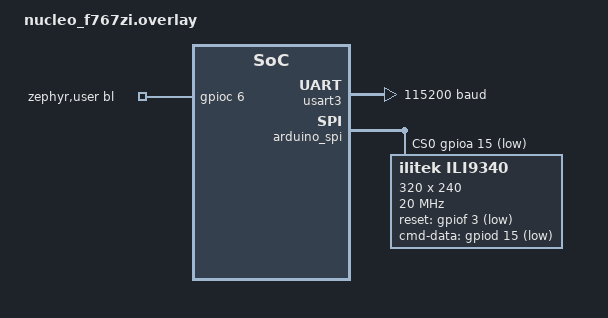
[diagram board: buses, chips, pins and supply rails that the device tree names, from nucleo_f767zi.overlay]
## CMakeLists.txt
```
cmake_minimum_required(VERSION 3.20.0)
find_package(Zephyr REQUIRED HINTS $ENV{ZEPHYR_BASE})
project(zephyr_mon)
target_sources(app PRIVATE src/main.cpp src/ui.cpp)
```

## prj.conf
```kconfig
CONFIG_HEAP_MEM_POOL_SIZE=16384
CONFIG_MAIN_STACK_SIZE=8192
CONFIG_GPIO=y
CONFIG_SPI=y
CONFIG_SERIAL=y
CONFIG_UART_LINE_CTRL=y
CONFIG_SERIAL=y
CONFIG_DISPLAY=y
CONFIG_LOG=y
CONFIG_HTCW_BITS=y
CONFIG_HTCW_IO=y
CONFIG_HTCW_ML=y
CONFIG_HTCW_DATA=y
CONFIG_HTCW_GFX=y
CONFIG_HTCW_UIX=y
CONFIG_CPP=y
CONFIG_STD_CPP17=y
CONFIG_PICOLIBC=y
CONFIG_NATIVE_UART_0_ON_STDINOUT=y
```

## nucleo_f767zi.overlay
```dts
#include <zephyr/dt-bindings/display/ili9xxx.h>
/ {
	aliases {
		command-serial = &usart3;
	};
	chosen {
		zephyr,display = &ili9340;
	};
	zephyr,user {
		// backlight
		bl_gpios = <&gpioc 6 0>;
	};	
};
&usart3 {
	compatible = "st,stm32-usart", "st,stm32-uart";
	status = "okay";
	current-speed = <115200>;
};
&arduino_spi {
	status = "okay";
	cs-gpios = <&gpioa 15 (GPIO_ACTIVE_LOW | GPIO_PULL_UP)>;
	ili9340: ili9340@0 {
		compatible = "ilitek,ili9340";
		spi-max-frequency = <20000000>;
		reg = <0>;
		reset-gpios = <&gpiof 3 (GPIO_ACTIVE_LOW | GPIO_PULL_UP)>;
        cmd-data-gpios = <&gpiod 15 (GPIO_ACTIVE_LOW | GPIO_PULL_UP)>;
		width = <320>;
		height = <240>;
		pixel-format = <ILI9XXX_PIXEL_FORMAT_RGB565>;
		rotation = <90>;
		frmctr1 = [00 18];
		pwctrl1 = [23 00];
		vmctrl1 = [3e 28];
		vmctrl2 = [86];
		pgamctrl = [0f 31 2b 0c 0e 08 4e f1 37 07 10 03 0e 09 00];
		ngamctrl = [00 0e 14 03 11 07 31 c1 48 08 0f 0c 31 36 0f];
	};
};
```

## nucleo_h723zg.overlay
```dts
#include <zephyr/dt-bindings/display/ili9xxx.h>
/ {
	aliases {
		command-serial = &usart3;
	};
	chosen {
		zephyr,display = &ili9340;
	};
	zephyr,user {
		// backlight
		bl_gpios = <&gpioc 6 GPIO_ACTIVE_HIGH>;
	};	
};
&usart3 {
	compatible = "st,stm32-usart", "st,stm32-uart";
	status = "okay";
	current-speed = <115200>;
};
&arduino_spi {
	status = "okay";
	cs-gpios = <&gpioa 15 (GPIO_ACTIVE_LOW | GPIO_PULL_UP)>;
	ili9340: ili9340@0 {
		compatible = "ilitek,ili9340";
		spi-max-frequency = <20000000>;
		reg = <0>;
		reset-gpios = <&gpiof 3 (GPIO_ACTIVE_LOW | GPIO_PULL_UP)>;
        cmd-data-gpios = <&gpiod 15 (GPIO_ACTIVE_LOW | GPIO_PULL_UP)>;
		width = <320>;
		height = <240>;
		pixel-format = <ILI9XXX_PIXEL_FORMAT_RGB565>;
		rotation = <90>;
		frmctr1 = [00 18];
		pwctrl1 = [23 00];
		vmctrl1 = [3e 28];
		vmctrl2 = [86];
		pgamctrl = [0f 31 2b 0c 0e 08 4e f1 37 07 10 03 0e 09 00];
		ngamctrl = [00 0e 14 03 11 07 31 c1 48 08 0f 0c 31 36 0f];
	};
};
```

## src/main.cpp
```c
#include <zephyr/kernel.h>
#include <zephyr/device.h>
#include <zephyr/drivers/gpio.h>
#include <zephyr/drivers/i2c.h>
#include <zephyr/drivers/uart.h>
#include <zephyr/drivers/display.h>
#include <string.h>
#include <stdio.h>
#include <gfx.hpp>
#include <uix.hpp>
#include "interface.hpp"
#include "ui.hpp"
extern "C" int main(void);

#define ZEPHYR_USER_NODE DT_PATH(zephyr_user)

using namespace gfx;
using namespace uix;

static const struct gpio_dt_spec lcd_bl = GPIO_DT_SPEC_GET(ZEPHYR_USER_NODE, bl_gpios);
static const struct device *uart_dev = DEVICE_DT_GET(DT_ALIAS(command_serial));

static uint32_t get_ms()
{
	return k_uptime_get();
}
// can't easily be sure if this works but maybe?
static int serial_getch()
{
	unsigned char ch;
	if (-1 == uart_poll_in(uart_dev, &ch)) {
		return -1;
	}
	return ch;
}

// returns garbage
static size_t serial_read_bytes(uint8_t *buf, size_t len)
{
	size_t result = 0;
	while (len) {
		int i = serial_getch();
		if (-1 != i) {
			*buf++ = (uint8_t)i;
			--len;
			++result;
		}
	}
	return result;
}

static bool serial_read_status(read_status_t *out_status)
{
	if (4 > serial_read_bytes((uint8_t *)out_status, sizeof(read_status_t))) {
		return false;
	}
	return true;
}

int main(void)
{
	printf("booted\n");
	static uint32_t timeout_ts = 0;
	bool connected = false;
	int old_cpu_temp = -1;
	int old_gpu_temp = 0;
	char cpu_sz[16];
	char gpu_sz[16];
	main_screen_init();
	disconnected_screen_init();
	int ret;
	if (!device_is_ready(uart_dev)) {
		printf("Could not get UART. Aborting\n");
		return -1;
	}
	if (!gpio_is_ready_dt(&lcd_bl)) {
		printf("Could not get backlight GPIO. Aborting\n");
		return -1;
	}
	ret = gpio_pin_configure_dt(&lcd_bl, GPIO_OUTPUT_ACTIVE);
	if (ret < 0) {
		return -1;
	}
	gpio_pin_set_dt(&lcd_bl, 1);

	if (display_dev == NULL) {
		printf("Device not found.  Aborting.\n");
		return -1;
	}
	display_blanking_off(display_dev);

	while (1) {
		// timeout for disconnection detection (1 second)
		if (timeout_ts != 0 && get_ms() > timeout_ts + 1000) {
			timeout_ts = 0;
			active_screen = &disconnected_screen;
			active_screen->invalidate();
			connected = false;
		}

		// listen for incoming serial
		bool done = false;
		while (!done) {
			int i = serial_getch();
			uint8_t tmp;
			if (i > -1) { // if data received...
				// reset the disconnect timeout
				timeout_ts = get_ms();
				if (!connected) {
					active_screen = &main_screen;
					active_screen->invalidate();
					connected = true;
				}
				switch (i) {
				case read_status_t::command: {
					read_status_t data;
					if (serial_read_status(&data)) {
						// update the CPU graph buffer (usage)
						if (cpu_buffers[0].full()) {
							cpu_buffers[0].get(&tmp);
						}
						cpu_buffers[0].put((data.cpu_usage / 100.0f) * 255);
						// update the bar and label values (usage)
						cpu_values[0] = data.cpu_usage / 100.0f;
						// update the CPU graph buffer (temperature)
						if (cpu_buffers[1].full()) {
							cpu_buffers[1].get(&tmp);
						}
						cpu_buffers[1].put(
							(data.cpu_temp / (float)data.cpu_temp_max) *
							255);
						if (data.cpu_temp > cpu_max_temp) {
							cpu_max_temp = data.cpu_temp;
						}
						// update the bar and label values (temperature)
						cpu_values[1] =
							data.cpu_temp / (float)data.cpu_temp_max;
						// force a redraw of the CPU bar and graph
						cpu_graph.invalidate();
						cpu_bar.invalidate();
						// update CPU the label (temperature)
						if (old_cpu_temp != data.cpu_temp) {
							old_cpu_temp = data.cpu_temp;
							sprintf(cpu_sz, "%dC", data.cpu_temp);
							cpu_temp_label.text(cpu_sz);
						}
						// update the GPU graph buffer (usage)
						if (gpu_buffers[0].full()) {
							gpu_buffers[0].get(&tmp);
						}
						gpu_buffers[0].put((data.gpu_usage / 100.0f) * 255);
						// update the bar and label values (usage)
						gpu_values[0] = data.gpu_usage / 100.0f;
						// update the GPU graph buffer (temperature)
						if (gpu_buffers[1].full()) {
							gpu_buffers[1].get(&tmp);
						}
						gpu_buffers[1].put(
							(data.gpu_temp / (float)data.gpu_temp_max) *
							255);
						if (data.gpu_temp > gpu_max_temp) {
							gpu_max_temp = data.gpu_temp;
						}
						// update the bar and label values (temperature)
						gpu_values[1] =
							data.gpu_temp / (float)data.gpu_temp_max;
						// force a redraw of the GPU bar and graph
						gpu_graph.invalidate();
						gpu_bar.invalidate();
						// update GPU the label (temperature)
						if (old_gpu_temp != data.gpu_temp) {
							old_gpu_temp = data.gpu_temp;
							sprintf(gpu_sz, "%dC", data.gpu_temp);
							gpu_temp_label.text(gpu_sz);
						}
					} else {
						// eat bad data
						while (-1 != serial_getch())
							;
					}
				} break;
				default:
					// eat unrecognized data
					while (-1 != serial_getch())
						;
					break;
				};
			} else {
				done = true;
			}
		}
		if (active_screen != nullptr) {
			active_screen->update();
		}
		k_yield();
	}

	return 0;
}
```

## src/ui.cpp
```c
#include "ui.hpp"
// required to implort the icon implementation
// must appear only once in the project
#define DISCONNECTED_ICON_IMPLEMENTATION
#include "disconnected_icon.hpp"
// our font for the UI. 
#define OPENSANS_REGULAR_IMPLEMENTATION
#include "OpenSans_Regular.hpp"

// for easier modification
const gfx::open_font& text_font = OpenSans_Regular;

using namespace uix;
using namespace gfx;

const struct device *display_dev = DEVICE_DT_GET(DT_CHOSEN(zephyr_display));
uint8_t lcd_buffer[lcd_buffer_size];
screen_t main_screen(lcd_buffer_size, lcd_buffer);
screen_t disconnected_screen(lcd_buffer_size, lcd_buffer);
screen_t* active_screen = &disconnected_screen;
void uix_flush(const rect16 &bounds, const void *bmp, void *state) {
	if(active_screen==nullptr) { return; }
    uint16_t w = bounds.x2 - bounds.x1 + 1;
	uint16_t h = bounds.y2 - bounds.y1 + 1;
	struct display_buffer_descriptor desc;
	desc.buf_size = screen_t::bitmap_type::sizeof_buffer({w, h});
	desc.width = w;
	desc.pitch = w;
	desc.height = h;
	display_write(display_dev, bounds.x1, bounds.y1, &desc, (void *)bmp);
    active_screen->set_flush_complete();
}

// used for the draw routines
// the state data for the bars
typedef struct bar_info {
    size_t size;
    float* values;
    rgba_pixel<32>* colors;
} bar_info_t;
// the state data for the graphs
typedef struct graph_info {
    size_t size;
    buffer_t* buffers;
    rgba_pixel<32>* colors;
} graph_info_t;

// callback for a canvas control to draw the bars
static void draw_bar(canvas_t::control_surface_type& destination, 
                    const gfx::srect16& clip, 
                    void* state) {
    // reconstitute our state info
    const bar_info_t& inf = *(bar_info_t*)state;
    // get the height of each bar
    int h = destination.dimensions().height / inf.size;
    int y = 0;
    for (size_t i = 0; i < inf.size; ++i) {
        // the current value to graph
        float v = inf.values[i];
        rgba_pixel<32> col = inf.colors[i];
        rgba_pixel<32> bcol = col;
        // if the color is the default (black), then we create a gradient
        // using the HSV color model
        if (col == rgba_pixel<32>()) {
            // two reference points for the ends of the graph
            hsva_pixel<32> px = color<hsva_pixel<32>>::red;
            hsva_pixel<32> px2 = color<hsva_pixel<32>>::green;
            auto h1 = px.channel<channel_name::H>();
            auto h2 = px2.channel<channel_name::H>();
            // adjust so we don't overshoot
            h2 -= 32;
            // the actual range we're drawing
            auto range = abs(h2 - h1) + 1;
            // the width of each gradient segment
            int w = (int)ceilf(destination.dimensions().width / 
                                (float)range) + 1;
            // the step of each segment - default 1
            int s = 1;
            // if the gradient is larger than the control
            if (destination.dimensions().width < range) {
                // change the segment to width 1
                w = 1;
                // and make its step larger
                s = range / (float)destination.dimensions().width;
            }
            int x = 0;
            // c is the current color offset
            // it increases by s (step)
            int c = 0;
            // for each color in the range
            for (auto j = 0; j < range; ++j) {
                // adjust the H value (inverted and offset)
                px.channel<channel_name::H>(range - c - 1 + h1);
                // create the rect for our segment
                rect16 r(x, y, x + w, y + h);
                // if we're drawing the filled part
                // it's fully opaque
                // otherwise it's semi-transparent
                if (x >= (v * destination.dimensions().width)) {
                    px.channel<channel_name::A>(95);
                } else {
                    px.channel<channel_name::A>(255);
                }
                // black out the area underneath so alpha blending
                // works correctly
                draw::filled_rectangle(destination, 
                                    r, 
                                    main_screen.background_color(), 
                                    &clip);
                // draw the segment
                draw::filled_rectangle(destination, 
                                    r, 
                                    px, 
                                    &clip);
                // increment
                x += w;
                c += s;
            }
        } else {
            // draw the solid color bars
            // first draw the background
            bcol.channel<channel_name::A>(95);
            draw::filled_rectangle(destination, 
                                srect16((destination.dimensions().width * v), 
                                        y, 
                                        destination.dimensions().width - 1, 
                                        y + h), 
                                bcol, 
                                &clip);
            // now the filled part
            draw::filled_rectangle(destination, 
                                srect16(0, 
                                        y, 
                                        (destination.dimensions().width * v) - 1, 
                                        y + h),
                                col, 
                                &clip);
        }
        // increment to the next bar
        y += h;
    }
}
static void draw_graph(canvas_t::control_surface_type& destination, 
                    const gfx::srect16& clip, 
                    void* state) {
    // reconstitute the state
    const graph_info_t& inf = *(graph_info_t*)state;
    // store the dimensions
    const uint16_t width = destination.dimensions().width;
    const uint16_t height = destination.dimensions().height;
    spoint16 pt=spoint16::zero();
    // for each graph
    for (size_t i = 0; i < inf.size; ++i) {
        // easy access to the current buffer
        buffer_t& buf = inf.buffers[i];
        // the current color
        rgba_pixel<32> col = inf.colors[i];
        // is the graph a gradient?
        bool grad = col == rgba_pixel<32>();
        // the point value
        float v = NAN;
        // if we have data
        if (!buf.empty()) {
            // get and store the first value
            // (translating it to the graph)
            v = *buf.peek(0)/255.0f;
            pt.x = 0;
            pt.y = height - (v * height) - 1;
            if (pt.y < 0) pt.y = 0;
        }
        // for each subsequent value
        for (size_t i = 1; i < buf.size(); ++i) {
            // retrieve the value
            v = *buf.peek(i)/255.0f;
            // if it's a gradient
            if (grad) {
                // get our anchors for the ends
                hsva_pixel<32> px = color<hsva_pixel<32>>::red;
                hsva_pixel<32> px2 = color<hsva_pixel<32>>::green;
                // get our H values
                auto h1 = px.channel<channel_name::H>();
                auto h2 = px2.channel<channel_name::H>();
                // offset the second one to avoid overshoot
                h2 -= 32;
                // get the H range
                auto range = abs(h2 - h1) + 1;
                // set the H value based on v (inverted and offet)
                px.channel<channel_name::H>(h1 + (range - (v * range)));
                // convert to RGBA8888
                convert(px, &col);
            }
            // compute the current data point
            spoint16 pt2;
            pt2.x = (i / 100.0f) * width;
            pt2.y = height - (v * height) - 1;
            if (pt2.y < 0) pt2.y = 0;
            // draw an anti-aliased line
            // from the old point to the 
            // new point.
            draw::line_aa(destination, 
                            srect16(pt, pt2), 
                            col, 
                            col, 
                            true, 
                            &clip);
            // store the current point as 
            // the next old point
            pt = pt2;
        }
    }
}

// define the declarations from the header
buffer_t cpu_buffers[2];
rgba_pixel<32> cpu_colors[] = {color32_t::light_blue, rgba_pixel<32>()};
float cpu_values[] = {0.0f, 0.0f};
int cpu_max_temp = 1;
buffer_t gpu_buffers[2];
rgba_pixel<32> gpu_colors[] = {color32_t::light_blue, rgba_pixel<32>()};
float gpu_values[] = {0.0f, 0.0f};
int gpu_max_temp = 1;

// define our CPU controls and state
label_t cpu_label(main_screen);
label_t cpu_temp_label(main_screen);
canvas_t cpu_bar(main_screen);
canvas_t cpu_graph(main_screen);
static bar_info_t cpu_bar_state;
static graph_info_t cpu_graph_state;

// define our GPU controls and state
label_t gpu_label(main_screen);
canvas_t gpu_bar(main_screen);
label_t gpu_temp_label(main_screen);
canvas_t gpu_graph(main_screen);
static bar_info_t gpu_bar_state;
static graph_info_t gpu_graph_state;

// define our disconnected controls
svg_box_t disconnected_svg(disconnected_screen);
label_t disconnected_label(disconnected_screen);

// initialize the main screen
void main_screen_init() {
    main_screen.on_flush_callback(uix_flush);
    // declare a transparent pixel/color
    rgba_pixel<32> transparent(0, 0, 0, 0);
    // screen is black
    main_screen.background_color(color_t::black);

    // declare the first label. Everything else is based on this.
    // to do so we measure the size of the text (@ 1/7th of 
    // height of the screen) and bound the label based on that
    cpu_label.text("CPU");
    cpu_label.text_line_height(main_screen.dimensions().height / 7);
    cpu_label.bounds(text_font.measure_text(ssize16::max(), 
                                spoint16::zero(), 
                                cpu_label.text(), 
                                text_font.scale(cpu_label.text_line_height()))
                                    .bounds().offset(5, 5).inflate(8, 4));
    // set the design properties
    cpu_label.text_color(color32_t::white);
    cpu_label.background_color(transparent);
    cpu_label.border_color(transparent);
    cpu_label.text_justify(uix_justify::bottom_right);
    cpu_label.text_open_font(&text_font);
    // register the control with the screen
    main_screen.register_control(cpu_label);

    // the temp label is right below the first label
    cpu_temp_label.bounds(cpu_label.bounds()
                            .offset(0, cpu_label.text_line_height() + 1));
    cpu_temp_label.text_color(color32_t::white);
    cpu_temp_label.background_color(transparent);
    cpu_temp_label.border_color(transparent);
    cpu_temp_label.text("0C");
    cpu_temp_label.text_justify(uix_justify::bottom_right);
    cpu_temp_label.text_open_font(&text_font);
    cpu_temp_label.text_line_height(cpu_label.text_line_height());
    main_screen.register_control(cpu_temp_label);

    // the bars are to the right of the label
    cpu_bar.bounds({int16_t(cpu_label.bounds().x2 + 5), 
                    cpu_label.bounds().y1, 
                    int16_t(main_screen.dimensions().width - 5), 
                    cpu_label.bounds().y2});
    cpu_bar_state.size = 2;
    cpu_bar_state.colors = cpu_colors;
    cpu_bar_state.values = cpu_values;
    cpu_bar.on_paint(draw_bar, &cpu_bar_state);
    main_screen.register_control(cpu_bar);

    // the graph is below the above items.
    cpu_graph.bounds({cpu_bar.bounds().x1, 
                        int16_t(cpu_label.bounds().y2 + 5), 
                        cpu_bar.bounds().x2, 
                        int16_t(main_screen.dimensions().height / 
                                    2 - 5)});
    cpu_graph_state.size = 2;
    cpu_graph_state.colors = cpu_colors;
    cpu_graph_state.buffers = cpu_buffers;
    cpu_graph.on_paint(draw_graph, &cpu_graph_state);
    main_screen.register_control(cpu_graph);

    // the GPU label is offset from the CPU
    // label by half the height of the screen
    gpu_label.bounds(cpu_label.bounds().offset(0, main_screen.dimensions().height / 2));
    gpu_label.text_color(color32_t::white);
    gpu_label.border_color(transparent);
    gpu_label.background_color(transparent);
    gpu_label.text("GPU");
    gpu_label.text_justify(uix_justify::bottom_right);
    gpu_label.text_open_font(&text_font);
    gpu_label.text_line_height(cpu_label.text_line_height());
    main_screen.register_control(gpu_label);

    // lay out the rest of the controls the 
    // same as was done with the CPU
    gpu_temp_label.bounds(gpu_label.bounds().offset(0, gpu_label.text_line_height() + 1));
    gpu_temp_label.text_color(color32_t::white);
    gpu_temp_label.background_color(transparent);
    gpu_temp_label.border_color(transparent);
    gpu_temp_label.text("0C");
    gpu_temp_label.text_justify(uix_justify::bottom_right);
    gpu_temp_label.text_open_font(&text_font);
    gpu_temp_label.text_line_height(cpu_label.text_line_height());
    main_screen.register_control(gpu_temp_label);

    gpu_bar.bounds({int16_t(gpu_label.bounds().x2 + 5), 
                    gpu_label.bounds().y1, 
                    int16_t(main_screen.dimensions().width - 5), 
                    gpu_label.bounds().y2});
    gpu_bar_state.size = 2;
    gpu_bar_state.colors = gpu_colors;
    gpu_bar_state.values = gpu_values;
    gpu_bar.on_paint(draw_bar, &gpu_bar_state);
    main_screen.register_control(gpu_bar);

    gpu_graph.bounds(cpu_graph.bounds()
                        .offset(0, main_screen.dimensions().height / 2));
    gpu_graph_state.size = 2;
    gpu_graph_state.colors = gpu_colors;
    gpu_graph_state.buffers = gpu_buffers;
    gpu_graph.on_paint(draw_graph, &gpu_graph_state);
    main_screen.register_control(gpu_graph);
}

void disconnected_screen_init() {
    disconnected_screen.on_flush_callback(uix_flush);
    disconnected_label.bounds(disconnected_screen.bounds());
    disconnected_label.background_color(color32_t::white);
    disconnected_label.border_color(color32_t::white);
    disconnected_screen.register_control(disconnected_label);
    // here we center and scale the SVG control based on
    // the size of the screen, clamped to a max of 128x128
    float sscale;
    if(disconnected_screen.dimensions().width<128 || disconnected_screen.dimensions().height<128) {
        sscale = disconnected_icon.scale(disconnected_screen.dimensions());
    } else {
        sscale = disconnected_icon.scale(size16(128,128));
    }
    disconnected_svg.bounds(srect16(0,
                                    0,
                                    disconnected_icon.dimensions().width*sscale-1,
                                    disconnected_icon.dimensions().height*sscale-1)
                                        .center(disconnected_screen.bounds()));
    disconnected_svg.doc(&disconnected_icon);
    disconnected_screen.register_control(disconnected_svg);
}
```

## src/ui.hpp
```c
#pragma once
#include <zephyr/kernel.h>
#include <zephyr/device.h>
#include <zephyr/drivers/display.h>
#include <uix.hpp>
#include <gfx.hpp>

using screen_t = uix::screen<320, 240, gfx::rgb_pixel<16>>;
using label_t = uix::label<typename screen_t::control_surface_type>;
using svg_box_t = uix::svg_box<typename screen_t::control_surface_type>;
using canvas_t = uix::canvas<typename screen_t::control_surface_type>;
// X11 colors (used for screen)
using color_t = gfx::color<typename screen_t::pixel_type>;
// RGBA8888 X11 colors (used for controls)
using color32_t = gfx::color<gfx::rgba_pixel<32>>;
// circular buffer for graphs
using buffer_t = data::circular_buffer<uint8_t,100>;

extern const struct device *display_dev;
constexpr static const size_t lcd_buffer_size = 64 * 1024;
extern uint8_t lcd_buffer[];
extern screen_t main_screen;
extern screen_t disconnected_screen;
extern screen_t* active_screen;
constexpr static const gfx::rgba_pixel<32> transparent(0, 0, 0, 0);

extern void uix_flush(const gfx::rect16 &bounds, const void *bmp, void *state);

// the buffers hold the graph data for the CPU
extern buffer_t cpu_buffers[];
// the array holds the bar/label data for the CPU
extern float cpu_values[];
// the max temperature received for the CPU
extern int cpu_max_temp;
// the colors for the CPU bar and graph
extern gfx::rgba_pixel<32> cpu_colors[];
// the buffers hold the graph data for the GPU
extern buffer_t gpu_buffers[];
// the array holds the bar/label data for the GPU
extern float gpu_values[];
// the max temperature received for the GPU
extern int gpu_max_temp;
// the colors for the GPU bar and graph
extern gfx::rgba_pixel<32> gpu_colors[];

// the controls for the CPU
extern label_t cpu_label;
extern label_t cpu_temp_label;
extern canvas_t cpu_bar;
extern canvas_t cpu_graph;

// the controls for the GPU
extern label_t gpu_label;
extern label_t gpu_temp_label;
extern canvas_t gpu_bar;
extern canvas_t gpu_graph;

// the controls for the disconnected screen
extern label_t disconnected_label;
extern svg_box_t disconnected_svg;

extern void main_screen_init();
extern void disconnected_screen_init();
```
